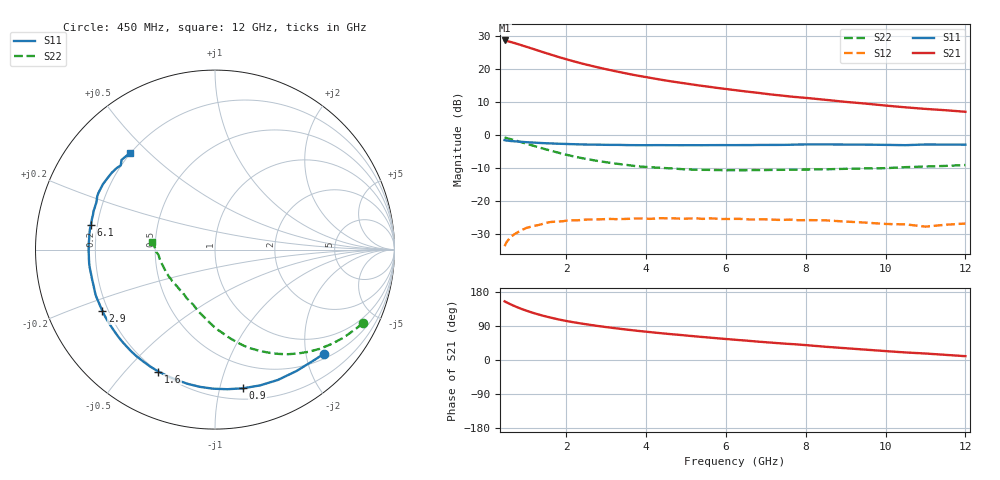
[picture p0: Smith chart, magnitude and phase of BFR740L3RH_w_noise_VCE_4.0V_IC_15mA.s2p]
! (c) 2012  Infineon Technologies AG, Munich
! Infineon Technologies  Discrete & RF Semiconductors
! BFR740L3RH
! VCE =  4.0 V,  IC =  15 mA
! Common Emitter S-Parameters:  May 2012
# GHz  S  MA  R  50
!  f  S11  S21  S12  S22
! GHz  MAG  ANG  MAG  ANG  MAG  ANG  MAG  ANG
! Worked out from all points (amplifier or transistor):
!   85 points, 450 MHz to 12 GHz, reference 50 ohm
!   highest |S21| = 28.7 dB at 450 MHz (marker M1)
!   |S21| within 3 dB of that: start of sweep to 1.274 GHz
!   unconditionally stable (mu >= 1): 7.183 GHz to end of sweep
!   at 1.8 GHz: K = 0.22, MSG = 24.9 dB, |S12| = -26.2 dB
!   at 4.6 GHz: K = 0.60, MSG = 20.8 dB, |S12| = -25.2 dB
!   at 12 GHz: K = 2.10, MAG = 11.0 dB, |S12| = -26.8 dB
!   lowest NFmin = 0.72 dB at 450 MHz
!   S11 on the Smith chart (normalised r, x): 450 MHz: 0.60, -2.36; 900 MHz: 0.29, -1.18; 1.6 GHz: 0.20, -0.62; 2.9 GHz: 0.18, -0.25; 6.1 GHz: 0.17, +0.10; 12 GHz: 0.20, +0.44
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0.45  0.8394 -43.8  27.14 154.7  0.0208 56.8  0.9199 -26.5
0.6  0.8147 -56.1  25.75 146.9  0.0288 59.3  0.8693 -34.2
0.7  0.8064 -64.2  24.77 142.2  0.0317 56.8  0.8366 -38.9
0.8  0.7972 -71.6  23.74 137.8  0.0343 53.0  0.8035 -43.5
0.9  0.7885 -78.5  22.72 133.8  0.037 49.6  0.7714 -47.6
1.1  0.775 -90.8  20.79 126.5  0.0408 43.3  0.7106 -55.1
1.3  0.7631 -101.6  18.99 120.1  0.0435 38.0  0.6544 -61.7
1.4  0.7574 -106.4  18.16 117.2  0.0451 36.3  0.6289 -64.7
1.6  0.7489 -114.9  16.65 112.0  0.0483 33.4  0.5828 -70.4
1.8  0.7403 -122.9  15.26 107.1  0.0491 30.3  0.5408 -75.4
2  0.7344 -129.5  14.07 102.9  0.0506 27.9  0.5045 -79.9
2.4  0.7222 -140.6  12.1 95.8  0.052 23.5  0.4474 -88.0
2.9  0.7145 -151.5  10.26 88.2  0.0532 19.5  0.3965 -96.3
3.5  0.707 -162.3  8.596 80.4  0.0538 16.4  0.3545 -105.6
4.3  0.7054 -172.8  7.02 71.4  0.0551 13.2  0.3209 -115.5
5.3  0.7038 175.9  5.678 61.7  0.0547 11.0  0.2982 -128.0
6.1  0.7053 168.7  4.907 54.6  0.0536 9.0  0.2943 -137.2
6.3  0.7056 167.0  4.741 52.8  0.0539 8.7  0.2942 -139.3
7.2  0.7102 159.9  4.083 45.3  0.0524 6.4  0.2973 -149.2
8.5  0.723 149.8  3.422 34.9  0.0512 5.4  0.3036 -162.4
10.5  0.7043 138.2  2.634 19.9  0.0445 9.1  0.3272 -177.6
12  0.7168 131.3  2.255 10.1  0.0458 21.2  0.3527 173.2
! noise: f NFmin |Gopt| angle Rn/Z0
0.45  0.72  0.11  6  0.11
0.9  0.73  0.11  24  0.11
1.5  0.75  0.13  46  0.1
1.9  0.76  0.15  59  0.1
2.4  0.78  0.16  69  0.1
3.5  0.84  0.18  90  0.1
5.5  0.99  0.22  120  0.09
8  1.21  0.28  155  0.08
10  1.39  0.32  -176  0.07
12  1.57  0.35  -150  0.09
